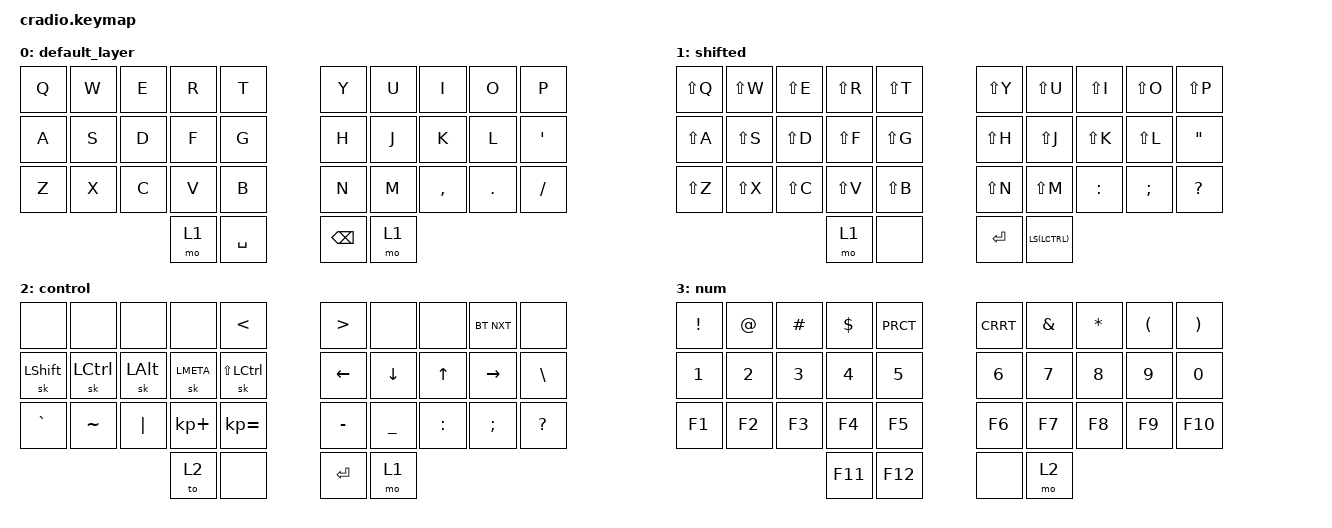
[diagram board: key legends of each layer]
/*
 * Copyright (c) 2020 The ZMK Contributors
 *
 * SPDX-License-Identifier: MIT
 */

#include <behaviors.dtsi>
#include <dt-bindings/zmk/keys.h>
#include <dt-bindings/zmk/bt.h>


&mt {
    //  flavor = "tap-preferred";
    // tapping_term_ms = <200>;
};

&sk {
    release-after-ms = <5000>;
    quick-release;
    ignore-modifiers;
};

/ {

    combos {
        compatible = "zmk,combos";
        combo_esc {
            timeout-ms = <100>;
            key-positions = <16 17>;
            bindings = <&kp ESC>;
        };

        combo_tab {
            timeout-ms = <100>;
            key-positions = <12 13>;
            bindings = <&kp TAB>;
        };

        combo_left_brace {
            timeout-ms = <100>;
            key-positions = <3 4>;
            bindings = <&kp LEFT_BRACE>;
        };

        combo_right_brace {
            timeout-ms = <100>;
            key-positions = <5 6>;
            bindings = <&kp RIGHT_BRACE>;
        };

        combo_left_parens {
            timeout-ms = <100>;
            key-positions = <13 14>;
            bindings = <&kp KP_LPAR>;
        };

        combo_right_parens {
            timeout-ms = <100>;
            key-positions = <15 16>;
            bindings = <&kp KP_RPAR>;
        };

        combo_left_bracket {
            timeout-ms = <100>;
            key-positions = <23 24>;
            bindings = <&kp LEFT_BRACKET>;
        };

        combo_right_bracket {
            timeout-ms = <100>;
            key-positions = <25 26>;
            bindings = <&kp RIGHT_BRACKET>;
        };

    };

    keymap {
        compatible = "zmk,keymap";

        default_layer {
            bindings = <
            &kp Q &kp W &kp E &kp R      &kp T          &kp Y    &kp U &kp I    &kp O   &kp P
            &kp A &kp S &kp D &kp F      &kp G          &kp H    &kp J &kp K    &kp L   &kp SQT
            &kp Z &kp X &kp C &kp V      &kp B          &kp N    &kp M &kp CMMA &kp DOT &kp SLASH
                              &mo 1 &kp SPC        &kp BKSP &mo 1
            >;
        };

        shifted {
            bindings = <
            &kp LS(Q) &kp LS(W) &kp LS(E) &kp LS(R) &kp LS(T)          &kp LS(Y)  &kp LS(U) &kp LS(I)    &kp LS(O)   &kp LS(P)
            &kp LS(A) &kp LS(S) &kp LS(D) &kp LS(F) &kp LS(G)          &kp LS(H)  &kp LS(J) &kp LS(K)    &kp LS(L)   &kp DQT
            &kp LS(Z) &kp LS(X) &kp LS(C) &kp LS(V) &kp LS(B)          &kp LS(N)  &kp LS(M) &kp COLON &kp SEMICOLON &kp QMARK
                                          &mo 1     &none              &kp ENTER  &LS(LCTRL)
            >;
        };

        control {
            bindings = <
            &none      &none     &none     &none       &kp LT               &kp GT    &none     &none      &bt BT_NXT    &none
            &sk LSHIFT &sk LCTRL &sk LALT  &sk LMETA   &sk LS(LCTRL)        &kp LEFT  &kp DOWN  &kp UP     &kp RIGHT     &kp BSLH
            &kp GRAVE  &kp TILDE &kp PIPE  &kp KP_PLUS &kp KP_EQUAL         &kp MINUS &kp UNDER &kp COLON  &kp SEMICOLON &kp QMARK
                                           &to 2       &none                &kp ENTER &mo 1
            >;
        };

        num {
            bindings = <
            &kp EXCL  &kp AT    &kp HASH  &kp DLLR  &kp PRCT        &kp CRRT  &kp AMPS  &kp STAR  &kp LPAR  &kp RPAR
            &kp NUM_1 &kp NUM_2 &kp NUM_3 &kp NUM_4 &kp NUM_5       &kp NUM_6 &kp NUM_7 &kp NUM_8 &kp NUM_9 &kp NUM_0
            &kp F1    &kp F2    &kp F3    &kp F4    &kp F5          &kp F6    &kp F7    &kp F8    &kp F9    &kp F10
                                          &kp F11   &kp F12         &none     &mo 2
            >;
        };
    };
};
